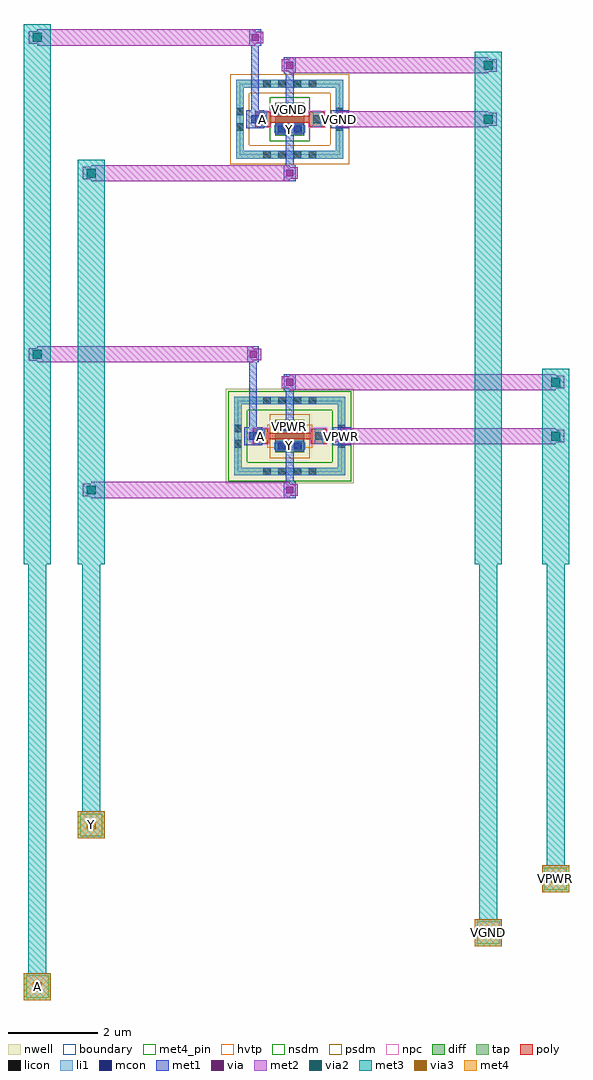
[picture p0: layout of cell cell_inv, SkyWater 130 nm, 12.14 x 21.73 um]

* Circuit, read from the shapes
.subckt cell_inv A VGND VPWR Y
XM1 VGND A Y VGND sky130_fd_pr__nfet_01v8 w=0.65 l=0.15
XM2 VPWR A Y VPWR sky130_fd_pr__pfet_01v8_hvt w=0.65 l=0.15
.ends

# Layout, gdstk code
import gdstk
lib = gdstk.Library(unit=1e-6, precision=1e-09)
def R(c, l, rs):  # rectangles x0, y0, x1, y1
    for r in rs: c.add(gdstk.rectangle(r[:2], r[2:], *l))
def A(c, l, x, y, w, h, nx, ny, dx, dy):  # array of equal rectangles
    R(c, l, [(x+i*dx, y+j*dy, x+i*dx+w, y+j*dy+h) for i in range(nx) for j in range(ny)])
nwell = (64, 20)
diff = (65, 20)
tap = (65, 44)
poly = (66, 20)
licon = (66, 44)
li1 = (67, 20)
mcon = (67, 44)
met1 = (68, 20)
via = (68, 44)
met2 = (69, 20)
via2 = (69, 44)
met3 = (70, 20)
via3 = (70, 44)
met4_pin = (71, 16)
met4 = (71, 20)
hvtp = (78, 44)
nsdm = (93, 44)
psdm = (94, 20)
npc = (95, 20)
boundary = (235, 4)

cell_inv = lib.new_cell('cell_inv')
R(cell_inv, nwell, [(14.5,21.5,17.34,23.61)])
R(cell_inv, diff, [(15.595,22.19,16.245,22.92), (15.595,29.245,16.245,29.975)])
R(cell_inv, tap, [(14.68,21.68,14.85,23.43), (14.85,21.68,16.99,21.85), (16.99,21.68,17.16,23.43), (14.85,23.26,16.99,23.43), (14.725,28.735,14.895,30.485), (14.895,28.735,16.945,28.905), (16.945,28.735,17.115,30.485), (14.895,30.315,16.945,30.485)])
R(cell_inv, poly, [(15.11,22.39,15.44,22.72), (16.4,22.39,16.73,22.72), (15.44,22.48,16.4,22.63), (15.155,29.445,15.485,29.775), (16.355,29.445,16.685,29.775), (15.485,29.535,16.355,29.685)])
A(cell_inv, licon, 15.325, 21.68, 0.17, 0.17, 4, 2, 0.34, 1.58)
A(cell_inv, licon, 15.325, 28.735, 0.17, 0.17, 4, 2, 0.34, 1.58)
R(cell_inv, licon, [(15.665,22.25,15.835,22.42), (16.005,22.25,16.175,22.42), (14.68,22.3,14.85,22.47), (16.99,22.3,17.16,22.47), (15.19,22.47,15.36,22.64), (16.48,22.47,16.65,22.64), (14.68,22.64,14.85,22.81), (16.99,22.64,17.16,22.81), (15.665,22.69,15.835,22.86), (16.005,22.69,16.175,22.86), (15.665,29.305,15.835,29.475), (16.005,29.305,16.175,29.475), (14.725,29.355,14.895,29.525), (16.945,29.355,17.115,29.525), (15.235,29.525,15.405,29.695), (16.435,29.525,16.605,29.695), (14.725,29.695,14.895,29.865), (16.945,29.695,17.115,29.865), (15.665,29.745,15.835,29.915), (16.005,29.745,16.175,29.915)])
R(cell_inv, li1, [(14.68,21.68,14.85,23.43), (14.85,21.68,16.99,21.85), (16.99,21.68,17.16,23.43), (15.575,22.25,16.265,22.42), (15.19,22.39,15.36,22.72), (16.48,22.39,16.65,22.72), (15.02,22.47,15.36,22.64), (15.575,22.69,16.265,22.86), (14.85,23.26,16.99,23.43), (14.725,28.735,14.895,30.485), (14.895,28.735,16.945,28.905), (16.945,28.735,17.115,30.485), (15.575,29.305,16.265,29.475), (15.235,29.445,15.405,29.775), (16.435,29.445,16.605,29.775), (15.065,29.525,15.405,29.695), (15.575,29.745,16.265,29.915), (14.895,30.315,16.945,30.485)])
R(cell_inv, mcon, [(15.655,22.25,15.825,22.42), (16.015,22.25,16.185,22.42), (15.02,22.47,15.19,22.64), (16.99,22.47,17.16,22.64), (15.655,22.69,15.825,22.86), (16.015,22.69,16.185,22.86), (15.655,29.305,15.825,29.475), (16.015,29.305,16.185,29.475), (15.065,29.525,15.235,29.695), (16.945,29.525,17.115,29.695), (15.655,29.745,15.825,29.915), (16.015,29.745,16.185,29.915)])
R(cell_inv, met1, [(15.79,21.175,16.05,21.535), (15.835,21.355,16.005,22.335), (15.595,22.22,16.245,22.45), (14.905,22.355,15.305,22.755), (16.875,22.355,17.275,22.755), (16.945,22.375,17.205,22.735), (15.02,22.555,15.19,24.375), (15.595,22.66,16.245,22.89), (15.835,22.775,16.005,23.755), (15.79,23.575,16.05,23.935), (14.975,24.195,15.235,24.555), (15.79,28.23,16.05,28.59), (15.835,28.41,16.005,29.39), (15.595,29.275,16.245,29.505), (14.95,29.41,15.35,29.81), (16.83,29.41,17.23,29.81), (16.9,29.43,17.16,29.79), (15.065,29.61,15.235,31.43), (15.595,29.715,16.245,29.945), (15.835,29.83,16.005,30.81), (15.79,30.63,16.05,30.99), (15.02,31.25,15.28,31.61)])
R(cell_inv, via, [(15.845,21.28,15.995,21.43), (17,22.48,17.15,22.63), (15.845,23.68,15.995,23.83), (15.03,24.3,15.18,24.45), (15.845,28.335,15.995,28.485), (16.955,29.535,17.105,29.685), (15.845,30.735,15.995,30.885), (15.075,31.355,15.225,31.505)])
R(cell_inv, met2, [(11.5,21.175,15.92,21.535), (11.31,21.215,11.69,21.495), (15.74,21.225,16.1,21.485), (17.075,22.375,21.84,22.735), (21.65,22.415,22.03,22.695), (16.895,22.425,17.255,22.685), (15.92,23.575,21.84,23.935), (21.65,23.615,22.03,23.895), (15.74,23.625,16.1,23.885), (10.3,24.195,15.105,24.555), (10.11,24.235,10.49,24.515), (14.925,24.245,15.285,24.505), (11.5,28.23,15.92,28.59), (11.31,28.27,11.69,28.55), (15.74,28.28,16.1,28.54), (17.03,29.43,20.34,29.79), (20.15,29.47,20.53,29.75), (16.85,29.48,17.21,29.74), (15.92,30.63,20.34,30.99), (20.15,30.67,20.53,30.95), (15.74,30.68,16.1,30.94), (10.3,31.25,15.15,31.61), (10.11,31.29,10.49,31.57), (14.97,31.3,15.33,31.56)])
R(cell_inv, via2, [(11.4,21.255,11.6,21.455), (21.74,22.455,21.94,22.655), (21.74,23.655,21.94,23.855), (10.2,24.275,10.4,24.475), (11.4,28.31,11.6,28.51), (20.24,29.51,20.44,29.71), (20.24,30.71,20.44,30.91), (10.2,31.33,10.4,31.53)])
R(cell_inv, met3, [(10,10,10.6,10.6), (20.04,11.2,20.64,11.8), (21.54,12.4,22.14,13), (11.2,13.6,11.8,14.2), (10,19.7,10.6,31.73), (11.2,19.7,11.8,28.71), (20.04,19.7,20.64,31.11), (21.54,19.7,22.14,24.055), (11.25,21.105,11.75,21.605), (21.59,22.305,22.09,22.805), (21.59,23.505,22.09,24.005), (10.05,24.125,10.55,24.625), (11.25,28.16,11.75,28.66), (20.09,29.36,20.59,29.86), (20.09,30.56,20.59,31.06), (10.05,31.18,10.55,31.68)])
R(cell_inv, via3, [(10.2,10.2,10.4,10.4), (20.24,11.4,20.44,11.6), (21.74,12.6,21.94,12.8), (11.4,13.8,11.6,14)])
R(cell_inv, met4_pin, [(10.05,10.05,10.55,10.55), (20.09,11.25,20.59,11.75), (21.59,12.45,22.09,12.95), (11.25,13.65,11.75,14.15)])
R(cell_inv, met4, [(10,10,10.6,10.6), (10,10.05,10.6,10.55), (20.04,11.2,20.64,11.8), (20.04,11.25,20.64,11.75), (21.54,12.4,22.14,13), (21.54,12.45,22.14,12.95), (11.2,13.6,11.8,14.2), (11.2,13.65,11.8,14.15)])
R(cell_inv, hvtp, [(15.415,22.3,16.425,22.81)])
R(cell_inv, nsdm, [(14.555,21.555,14.975,23.555), (14.975,21.555,16.865,21.975), (16.865,21.555,17.285,23.555), (14.975,23.135,16.865,23.555), (15.47,29.12,16.37,30.1)])
R(cell_inv, psdm, [(15.47,22.065,16.37,23.045), (14.6,28.61,15.02,30.61), (15.02,28.61,16.82,29.03), (16.82,28.61,17.24,30.61), (15.02,30.19,16.82,30.61)])
R(cell_inv, npc, [(15.09,22.37,15.46,22.74), (16.38,22.37,16.75,22.74), (15.135,29.425,15.505,29.795), (16.335,29.425,16.705,29.795)])
R(cell_inv, boundary, [(14.765,21.765,17.075,23.345), (14.81,28.82,17.03,30.4)])
cell_inv.add(gdstk.FlexPath([(10.3,10.3),(10.3,19.7)], 0.4, ends="flush", simple_path=True, layer=70, datatype=20))  # met3
cell_inv.add(gdstk.FlexPath([(20.34,11.5),(20.34,19.7)], 0.4, ends="flush", simple_path=True, layer=70, datatype=20))  # met3
cell_inv.add(gdstk.FlexPath([(21.84,12.7),(21.84,19.7)], 0.4, ends="flush", simple_path=True, layer=70, datatype=20))  # met3
cell_inv.add(gdstk.FlexPath([(11.5,13.9),(11.5,19.7)], 0.4, ends="flush", simple_path=True, layer=70, datatype=20))  # met3
cell_inv.add(gdstk.Label('VPWR', (17.075,22.555), layer=67, texttype=5))
cell_inv.add(gdstk.Label('Y', (15.92,22.335), layer=67, texttype=5))
cell_inv.add(gdstk.Label('A', (15.275,22.555), layer=67, texttype=5))
cell_inv.add(gdstk.Label('Y', (15.92,29.39), layer=67, texttype=5))
cell_inv.add(gdstk.Label('VGND', (17.03,29.61), layer=67, texttype=5))
cell_inv.add(gdstk.Label('VGND', (15.92,29.83), layer=67, texttype=5))
cell_inv.add(gdstk.Label('VPWR', (15.92,22.775), layer=67, texttype=5))
cell_inv.add(gdstk.Label('A', (15.32,29.61), layer=67, texttype=5))
cell_inv.add(gdstk.Label('A', (10.3,10.3), layer=71, texttype=5))
cell_inv.add(gdstk.Label('VGND', (20.34,11.5), layer=71, texttype=5))
cell_inv.add(gdstk.Label('VPWR', (21.84,12.7), layer=71, texttype=5))
cell_inv.add(gdstk.Label('Y', (11.5,13.9), layer=71, texttype=5))

lib.write_gds('cell_inv.gds')
